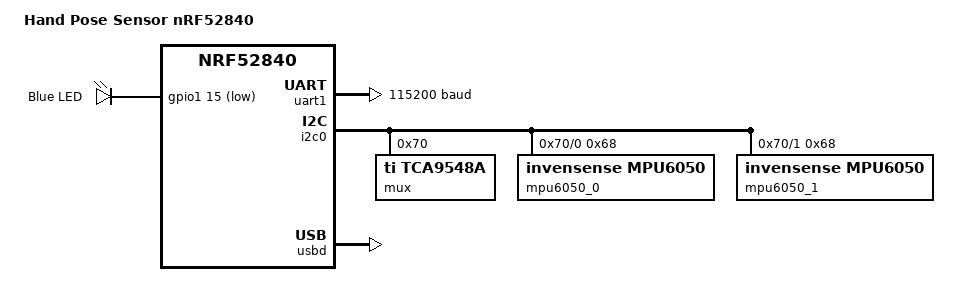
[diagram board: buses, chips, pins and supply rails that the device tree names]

/dts-v1/;
#include <nordic/nrf52840_qiaa.dtsi>
#include "hand_pose_sensor-pinctrl.dtsi"
#include <zephyr/dt-bindings/input/input-event-codes.h>

/ {
	model = "Hand Pose Sensor nRF52840";
	compatible = "hand_pose_sensor,nrf52840";

	chosen {
		zephyr,console = &uart1;
		zephyr,shell-uart = &uart1;
		zephyr,uart-mcumgr = &uart1;
		zephyr,bt-mon-uart = &uart1;
		zephyr,bt-c2h-uart = &uart1;
		zephyr,sram = &sram0;
		zephyr,flash = &flash0;
		zephyr,code-partition = &slot0_partition;
	};

	leds {
		compatible = "gpio-leds";
		led0: led_0 {
			gpios = <&gpio1 15 GPIO_ACTIVE_LOW>;
			label = "Blue LED";
		};
	};

	aliases {
		watchdog0 = &wdt0;
		i2c-channel-0 = &ch0;
		i2c-channel-1 = &ch1;
		led = &led0;
		imu0 = &mpu6050_0;
		imu1 = &mpu6050_1;
	};
};

&uicr {
	gpio-as-nreset;
};

&gpiote {
	status = "okay";
};

&gpio0 {
	status = "okay";
	gpio-reserved-ranges = <0 2>, <6 1>, <8 3>, <17 7>;
};

&gpio1 {
	status = "okay";


};

&uart1 {
	compatible = "nordic,nrf-uarte";
	status = "okay";
	current-speed = <115200>;
	pinctrl-0 = <&uart1_default>;
	pinctrl-1 = <&uart1_sleep>;
	pinctrl-names = "default", "sleep";
};

&i2c0 {
	compatible = "nordic,nrf-twi";
	status = "okay";
	pinctrl-0 = <&i2c0_default>;
	pinctrl-1 = <&i2c0_sleep>;
	pinctrl-names = "default", "sleep";

	mux: tca9548a@70 {
		compatible = "ti,tca9548a";
		reg = <0x70>;
		status = "okay";
		#address-cells = <1>;
		#size-cells = <0>;

		ch0: mux_i2c@0 {
			compatible = "ti,tca9548a-channel";
			reg = <0>;
			#address-cells = <1>;
			#size-cells = <0>;

			mpu6050_0: mpu6050@68 {
				compatible = "invensense,mpu6050";
				reg = <0x68>;
				status = "okay";
			};
		};


		ch1: mux_i2c@1 {
			compatible = "ti,tca9548a-channel";
			reg = <1>;
			#address-cells = <1>;
			#size-cells = <0>;

			mpu6050_1: mpu6050@68 {
				compatible = "invensense,mpu6050";
				reg = <0x68>;
				status = "okay";
			};
		};
	};
};

&flash0 {

	partitions {
		compatible = "fixed-partitions";
		#address-cells = <1>;
		#size-cells = <1>;

		boot_partition: partition@0 {
			label = "mcuboot";
			reg = <0x00000000 0x0000C000>;
		};
		slot0_partition: partition@c000 {
			label = "image-0";
			reg = <0x0000C000 0x00076000>;
		};
		slot1_partition: partition@82000 {
			label = "image-1";
			reg = <0x00082000 0x00076000>;
		};
		storage_partition: partition@f8000 {
			label = "storage";
			reg = <0x000f8000 0x00008000>;
		};
	};
};

zephyr_udc0: &usbd {
	compatible = "nordic,nrf-usbd";
	status = "okay";
};

